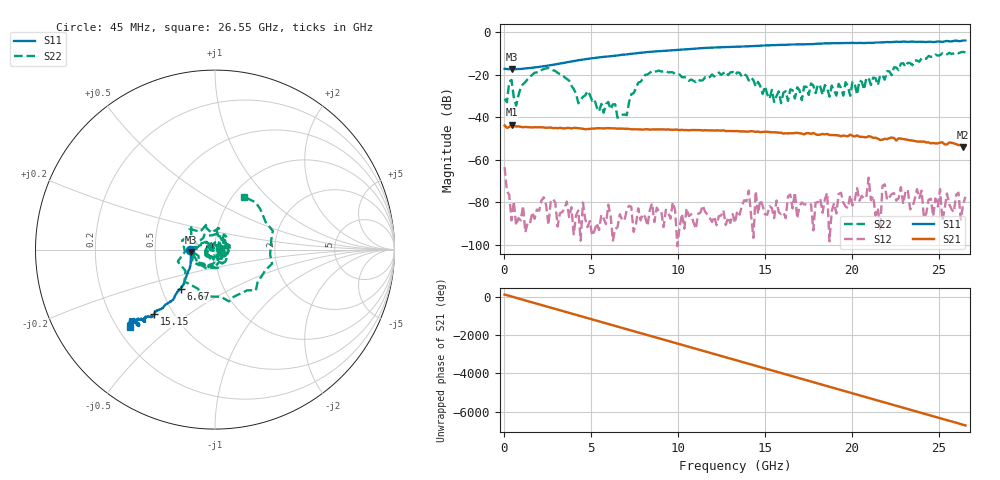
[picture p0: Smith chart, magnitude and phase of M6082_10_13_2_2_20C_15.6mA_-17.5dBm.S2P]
!  2-Port S-parameters saved by WinCal
! VAR MeasName=S-Parameters (CALIBRATED_DATA) read from VNA (C)
! VAR MeasDate=10/16/2015 2:46:59 PM
! VAR NAME=M6082_10_13_2_2_20C_15.6mA_-17.5dBm
! VAR FILENAME=M6082_10_13_2_2_20C_15.6mA_-17.5dBm.S2P
! VAR DATE=10/16/2015 2:46:59 PM
! VAR PHYS_PORTS=2,1
! VAR ObjTypeName=DATASET
! VAR IndexType=Frequency
# Hz S DB R 50
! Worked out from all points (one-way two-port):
!   201 points, 45 MHz to 26.55 GHz, reference 50 ohm
!   highest |S21| = -43.43 dB at 442.5 MHz (marker M1); lowest = -53.9 dB at 26.41 GHz (marker M2)
!   lowest |S11| = -17.4 dB at 442.5 MHz (marker M3), VSWR 1.31, Z = 38.1 - j0.979 ohm
!   |S11| at or under -10 dB: start of sweep to 7.496 GHz
!   |S22| runs from -40.2 to -9.2 dB; largest |S21 - S12| = 0.007
!   S11 on the Smith chart (normalised r, x): 45 MHz: 0.76, -0.00; 6.67 GHz: 0.62, -0.30; 15.15 GHz: 0.40, -0.37; 26.55 GHz: 0.25, -0.36
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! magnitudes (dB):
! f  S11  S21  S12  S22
! 45 MHz  -17.2  -43.8  -63.4  -31.2
! 177.5 MHz  -17.3  -44.9  -74.7  -32.9
! 442.5 MHz  -17.4  -43.4  -88.4  -22.4
! 707.5 MHz  -17.3  -44.3  -90.8  -34.5
! 1.105 GHz  -17.1  -44.6  -81.5  -24.4
! 2.43 GHz  -15.8  -44.9  -81.1  -16.9
! 4.55 GHz  -12.8  -45.4  -80.1  -30.3
! 6.67 GHz  -10.7  -45.2  -85.5  -39.4
! 8.922 GHz  -8.9  -45.7  -84.2  -18.0
! 13.29 GHz  -6.8  -46.5  -89.6  -20.0
! 15.15 GHz  -6.2  -46.8  -85.8  -29.1
! 16.87 GHz  -5.7  -47.3  -87.5  -25.9
! 17.14 GHz  -5.7  -47.6  -80.0  -32.0
! 17.8 GHz  -5.6  -47.3  -93.1  -25.1
! 20.71 GHz  -5.1  -49.2  -78.2  -26.9
! 20.98 GHz  -4.9  -48.8  -68.3  -21.4
! 21.11 GHz  -5.0  -49.1  -79.0  -24.8
! 21.64 GHz  -4.8  -50.6  -92.9  -20.2
! 21.91 GHz  -4.7  -50.1  -71.5  -22.3
! 22.17 GHz  -4.6  -49.7  -77.5  -18.4
! 26.41 GHz  -3.8  -53.9  -81.0  -9.2
! 26.55 GHz  -3.9  -53.3  -77.3  -9.5
